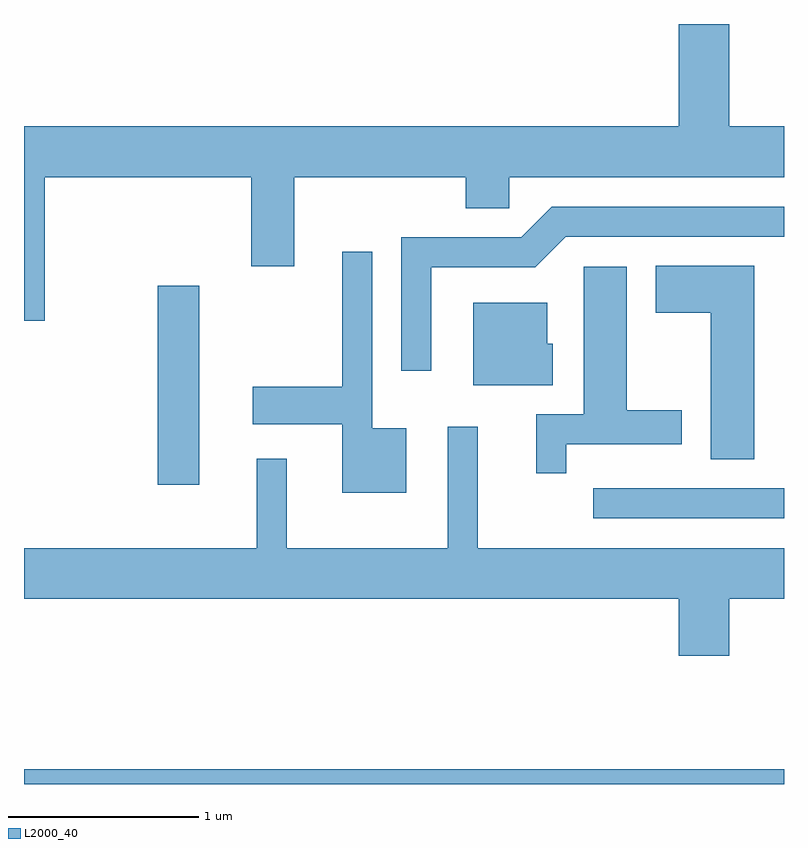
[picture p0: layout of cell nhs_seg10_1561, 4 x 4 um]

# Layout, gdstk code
import gdstk
lib = gdstk.Library(unit=1e-6, precision=1e-09)
def R(c, l, rs):  # rectangles x0, y0, x1, y1
    for r in rs: c.add(gdstk.rectangle(r[:2], r[2:], *l))
def P(c, l, *ps):  # polygons
    for p in ps: c.add(gdstk.Polygon(p, *l))
L2000_40 = (2000, 40)

nhs_seg10_1561 = lib.new_cell('nhs_seg10_1561')
R(nhs_seg10_1561, L2000_40, [(231.611,2088.522,235.611,2088.599), (234.608,2089.921,235.611,2090.079), (232.316,2090.096,232.534,2091.144)])
P(nhs_seg10_1561, L2000_40, [(231.719,2091.716),(232.806,2091.716),(232.806,2091.246),(233.034,2091.246),(233.034,2091.716),(233.936,2091.716),(233.936,2091.551),(234.164,2091.551),(234.164,2091.716),(235.611,2091.716),(235.611,2091.984),(235.324,2091.984),(235.324,2092.522),(235.056,2092.522),(235.056,2091.984),(231.611,2091.984),(231.611,2090.961),(231.719,2090.961)],
  [(233.754,2091.241),(234.302,2091.241),(234.462,2091.401),(235.611,2091.401),(235.611,2091.559),(234.389,2091.559),(234.229,2091.399),(233.596,2091.399),(233.596,2090.698),(233.754,2090.698)],
  [(233.624,2090.394),(233.444,2090.394),(233.444,2091.323),(233.286,2091.323),(233.286,2090.614),(232.816,2090.614),(232.816,2090.416),(233.286,2090.416),(233.286,2090.056),(233.624,2090.056)],
  [(235.454,2091.249),(234.936,2091.249),(234.936,2091.001),(235.226,2091.001),(235.226,2090.231),(235.454,2090.231)],
  [(234.464,2090.311),(235.074,2090.311),(235.074,2090.489),(234.784,2090.489),(234.784,2091.244),(234.556,2091.244),(234.556,2090.469),(234.306,2090.469),(234.306,2090.158),(234.464,2090.158)],
  [(234.394,2090.839),(234.364,2090.839),(234.364,2091.054),(233.976,2091.054),(233.976,2090.621),(234.394,2090.621)],
  [(235.324,2089.496),(235.611,2089.496),(235.611,2089.764),(233.999,2089.764),(233.999,2090.403),(233.841,2090.403),(233.841,2089.764),(232.994,2089.764),(232.994,2090.233),(232.836,2090.233),(232.836,2089.764),(231.611,2089.764),(231.611,2089.496),(235.056,2089.496),(235.056,2089.196),(235.324,2089.196)])

lib.write_gds('nhs_seg10_1561.gds')
